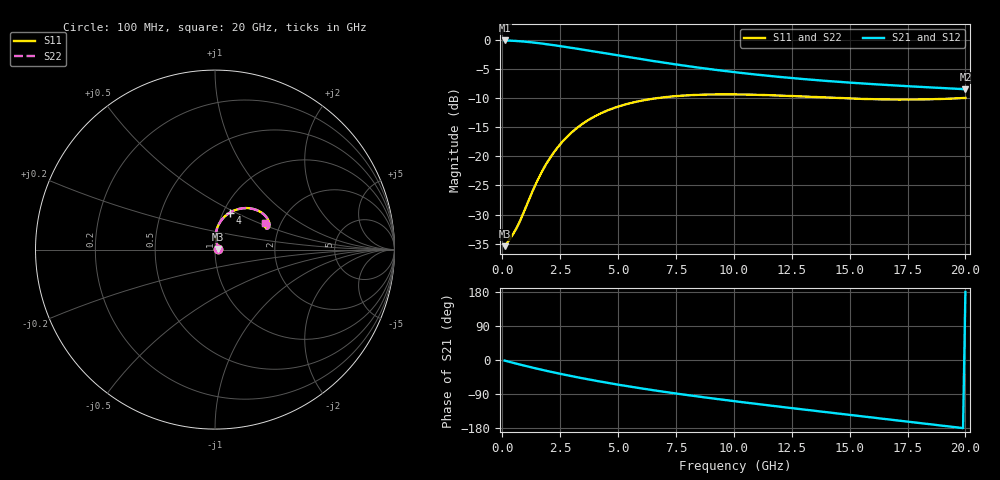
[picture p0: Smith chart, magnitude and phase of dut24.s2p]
! Touchstone file exported from HFSS 2024.1.0
!  File:  C:/UserFiles/LocalFiles/RDL_TSV_Batchsim/temp_RDL_TSV_24_1779400483.aedt
!  Generated:  06:12:32 AM May 22, 2026
!  Design:  RDL_TSV
!  Project:  temp_RDL_TSV_24_1779400483
!  Setup:  Setup1
!  Solution:  Sweep
! Variables:
!  dtsv = 9.03um
!  hbump = 3um
!  htsv = 65.6um
!  ldown = 642.56um
!  lrdl = 162.16um
!  p = 40
!  p1 = 56.14um
!  rhole = 10um
!  subl = 2576.32um
!  t = 450um
!  tdown = 3.97um
!  trdl = 2.03um
!  viad = 10um
!  wdown = 23.85um
!  wrdl = 12.89um
!  xbump = 18um
# GHz S MA R 50.000000
! Terminal data exported
! Port[1] = TM1_1_T1
! Port[2] = TM1_4_T1
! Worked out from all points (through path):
!   200 points, 100 MHz to 20 GHz, reference 50 ohm
!   highest |S21| = -0.15 dB at 100 MHz (marker M1); lowest = -8.5 dB at 20 GHz (marker M2)
!   group delay of S21, straight-line fit = 23.5 ps
!   lowest |S11| = -35.4 dB at 100 MHz (marker M3), VSWR 1.03, Z = 51.7 + j0.355 ohm
!   |S11| at or under -10 dB: start of sweep to 6.748 GHz; 14.41 GHz to 19.99 GHz (5.58 GHz wide, 32.4 % of centre)
!   |S22| runs from -35.4 to -9.4 dB; largest |S21 - S12| = 1.4e-14
!   S11 on the Smith chart (normalised r, x): 100 MHz: 1.03, +0.01; 4 GHz: 1.07, +0.46; 20 GHz: 1.66, +0.55
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0.1  0.01699 11.7  0.983 -1.6  0.983 -1.6  0.01699 11.7
! Gamma 0 0 0 0
! Port Impedance 50 0 50 0
0.6  0.02395 52.2  0.9732 -9.5  0.9732 -9.5  0.02395 52.2
0.8  0.02893 64.7  0.9669 -12.6  0.9669 -12.6  0.02893 64.7
1.5  0.06099 85.6  0.9359 -22.9  0.9359 -22.9  0.06098 85.5
2  0.09269 86.6  0.9086 -29.8  0.9086 -29.8  0.09266 86.6
2.3  0.1131 85.0  0.8911 -33.8  0.8911 -33.8  0.113 85.0
2.7  0.1404 81.7  0.8673 -38.9  0.8673 -38.9  0.1403 81.7
3.1  0.1669 77.8  0.8431 -43.9  0.8431 -43.9  0.1668 77.8
3.5  0.1919 73.6  0.819 -48.6  0.819 -48.6  0.1918 73.6
4  0.2203 68.4  0.7893 -54.3  0.7893 -54.3  0.2201 68.4
4.6  0.2497 62.5  0.7547 -60.8  0.7547 -60.8  0.2496 62.4
5.2  0.2741 56.9  0.7216 -67.1  0.7216 -67.1  0.274 56.9
6  0.2993 50.3  0.6803 -74.9  0.6803 -74.9  0.2991 50.3
6.8  0.3172 44.6  0.6425 -82.3  0.6425 -82.3  0.317 44.5
8.4  0.336 35.4  0.578 -95.9  0.578 -95.9  0.3357 35.3
10.1  0.3391 28.5  0.5241 -109.3  0.5241 -109.3  0.3389 28.5
11.7  0.3331 24.4  0.4847 -121.2  0.4847 -121.2  0.3329 24.3
13.4  0.3226 22.1  0.4521 -133.4  0.4521 -133.4  0.3224 22.1
15  0.3129 21.9  0.428 -144.8  0.428 -144.8  0.3128 21.9
16.7  0.3068 23.3  0.4073 -156.9  0.4073 -156.9  0.3066 23.3
18.3  0.3075 25.6  0.3909 -168.3  0.3909 -168.3  0.3073 25.5
20  0.3163 28.1  0.3758 179.6  0.3758 179.6  0.3161 28.0
